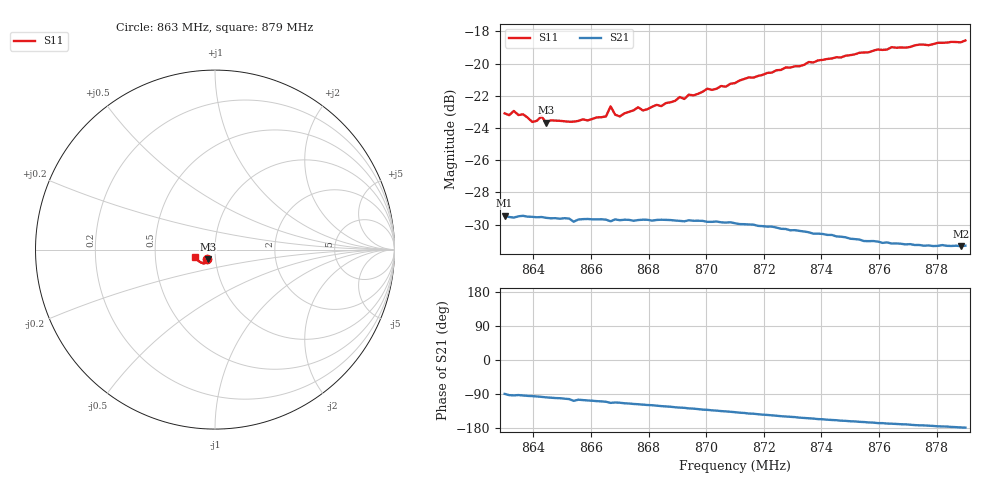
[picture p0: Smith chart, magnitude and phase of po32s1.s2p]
# HZ S RI R 50
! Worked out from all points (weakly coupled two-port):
!   101 points, 863 MHz to 879 MHz, reference 50 ohm
!   highest |S21| = -29.44 dB at 863 MHz (marker M1); lowest = -31.3 dB at 878.84 MHz (marker M2)
!   lowest |S11| = -23.7 dB at 864.44 MHz (marker M3), VSWR 1.14, Z = 46.1 - j4.92 ohm
!   |S11| at or under -10 dB: start of sweep to end of sweep
!   S12 and S22 are empty: the file has one direction only
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8.63e8  -0.0443 -0.0543  0.000384 -0.0337  0 0  0 0
8.6316e8  -0.0449 -0.0526  -0.00162 -0.0334  0 0  0 0
8.6332e8  -0.0467 -0.0538  -0.00199 -0.0332  0 0  0 0
8.6396e8  -0.0392 -0.053  -0.00312 -0.0333  0 0  0 0
8.6428e8  -0.0398 -0.0558  -0.00423 -0.0331  0 0  0 0
8.6444e8  -0.0383 -0.0532  -0.00495 -0.0328  0 0  0 0
8.6572e8  -0.0353 -0.0571  -0.00893 -0.0317  0 0  0 0
8.6652e8  -0.0341 -0.0595  -0.0113 -0.0308  0 0  0 0
8.6668e8  -0.0437 -0.0593  -0.0127 -0.0298  0 0  0 0
8.6684e8  -0.0348 -0.06  -0.0124 -0.0304  0 0  0 0
8.67e8  -0.0348 -0.059  -0.0126 -0.0301  0 0  0 0
8.6764e8  -0.0363 -0.0635  -0.0147 -0.0292  0 0  0 0
8.678e8  -0.0351 -0.0623  -0.0153 -0.029  0 0  0 0
8.6844e8  -0.0359 -0.0645  -0.0172 -0.0279  0 0  0 0
8.6908e8  -0.0394 -0.0682  -0.0189 -0.0264  0 0  0 0
8.6924e8  -0.0383 -0.0676  -0.0192 -0.0261  0 0  0 0
8.7004e8  -0.0418 -0.0723  -0.0214 -0.0241  0 0  0 0
8.71e8  -0.0466 -0.0735  -0.0236 -0.0215  0 0  0 0
8.7372e8  -0.0663 -0.0758  -0.0268 -0.0127  0 0  0 0
8.7644e8  -0.0932 -0.0629  -0.0271 -0.00568  0 0  0 0
8.7884e8  -0.1084 -0.0424  -0.0271 -0.000982  0 0  0 0
8.79e8  -0.111 -0.0398  -0.0272 -0.000697  0 0  0 0
